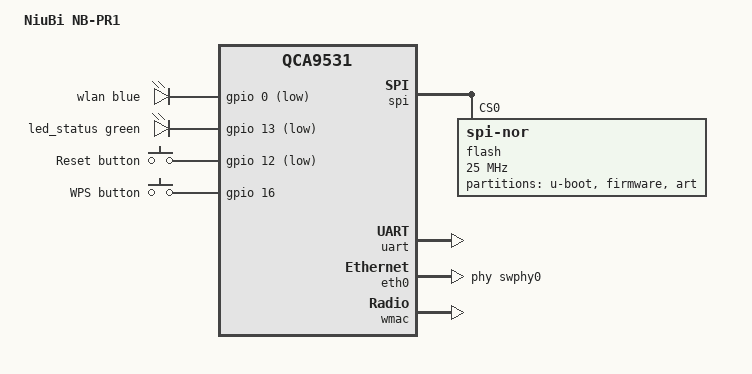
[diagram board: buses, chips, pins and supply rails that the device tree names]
// SPDX-License-Identifier: GPL-2.0-or-later OR MIT

#include <dt-bindings/gpio/gpio.h>
#include <dt-bindings/input/input.h>
#include <dt-bindings/leds/common.h>

#include "qca953x.dtsi"

/ {
	compatible = "niubi,nb-pr1", "qca,qca9531";
	model = "NiuBi NB-PR1";

	aliases {
		serial0 = &uart;
		led-boot = &led_status;
		led-failsafe = &led_status;
		led-upgrade = &led_status;
		label-mac-device = &eth1;
	};

	leds {
		compatible = "gpio-leds";

		wlan {
			function = LED_FUNCTION_WLAN;
			color = <LED_COLOR_ID_BLUE>;
			gpios = <&gpio 0 GPIO_ACTIVE_LOW>;
			linux,default-trigger = "phy0tpt";
		};

		led_status: status {
			function = LED_FUNCTION_STATUS;
			color = <LED_COLOR_ID_GREEN>;
			gpios = <&gpio 13 GPIO_ACTIVE_LOW>;
		};
	};

	keys {
		compatible = "gpio-keys";

		reset {
			label = "Reset button";
			linux,code = <KEY_RESTART>;
			gpios = <&gpio 12 GPIO_ACTIVE_LOW>;
			debounce-interval = <60>;
		};

		wps {
			label = "WPS button";
			linux,code = <KEY_WPS_BUTTON>;
			gpios = <&gpio 16 GPIO_ACTIVE_HIGH>;
			debounce-interval = <60>;
		};
	};
};

&spi {
	status = "okay";

	num-cs = <1>;

	flash@0 {
		compatible = "jedec,spi-nor";
		reg = <0>;
		spi-max-frequency = <25000000>;

		partitions {
			compatible = "fixed-partitions";
			#address-cells = <1>;
			#size-cells = <1>;

			partition@0 {
				label = "u-boot";
				reg = <0x000000 0x020000>;
				read-only;
			};

			partition@20000 {
				label = "firmware";
				reg = <0x020000 0xfd0000>;
				compatible = "tplink,firmware";
			};

			partition@ff0000 {
				label = "art";
				reg = <0xff0000 0x010000>;
				read-only;

				nvmem-layout {
					compatible = "fixed-layout";
					#address-cells = <1>;
					#size-cells = <1>;

					macaddr_art_0: macaddr@0 {
						reg = <0x0 0x6>;
					};

					macaddr_art_6: macaddr@6 {
						reg = <0x6 0x6>;
					};

					cal_art_1000: calibration@1000 {
						reg = <0x1000 0x440>;
					};
				};
			};
		};
	};
};

&uart {
	status = "okay";
};

&eth0 {
	status = "okay";

	phy-handle = <&swphy0>;

	nvmem-cells = <&macaddr_art_6>;
	nvmem-cell-names = "mac-address";

	gmac-config {
		device = <&gmac>;

		switch-phy-addr-swap = <1>;
		switch-phy-swap = <1>;
	};
};

&eth1 {
	compatible = "syscon", "simple-mfd";

	nvmem-cells = <&macaddr_art_0>;
	nvmem-cell-names = "mac-address";
};

&wmac {
	status = "okay";

	nvmem-cells = <&cal_art_1000>;
	nvmem-cell-names = "calibration";
};
